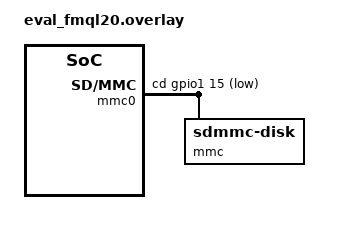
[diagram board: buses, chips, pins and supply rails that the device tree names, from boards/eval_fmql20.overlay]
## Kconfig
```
#
# Copyright (c) 2023 Nordic Semiconductor ASA
# Copyright (c) 2023 Antmicro <www.antmicro.com>
#
# SPDX-License-Identifier: Apache-2.0
#

mainmenu "Filesystems Sample Application"

config FS_SAMPLE_CREATE_SOME_ENTRIES
	bool "When no files are found on mounted partition create some"
	default y
	help
	  In case when no files could be listed, because there are none,
	  "some.dir" directory and "other.txt" file will be created
	  and list will run again to show them. This is useful when
	  showing how file system works on non-SD devices like internal
	  flash or (Q)SPI connected memories, where it is not possible to
	  easily add files with use of other device.

config FS_SAMPLE_BENCHMARK
	bool "Benchmark read/write performance"
	default n

source "Kconfig.zephyr"
```

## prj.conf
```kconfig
CONFIG_DISK_ACCESS=y
CONFIG_LOG=y
CONFIG_FILE_SYSTEM=y
CONFIG_FAT_FILESYSTEM_ELM=y
CONFIG_PRINTK=y
CONFIG_MAIN_STACK_SIZE=2048

# optimizing for size has a significant impact on performance
CONFIG_DEBUG_OPTIMIZATIONS=y
CONFIG_FS_FATFS_WINDOW_ALIGNMENT=256
```

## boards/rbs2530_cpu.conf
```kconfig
CONFIG_SDHC=y
CONFIG_GPIO=y
CONFIG_DISK_DRIVER_SDMMC=y
CONFIG_COMPILER_WARNINGS_AS_ERRORS=y
```

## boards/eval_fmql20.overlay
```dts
/**
 * Copyright (c) 2024 SYSTech Co.
 * SPDX-License-Identifier: Apache-2.0
 */

#include <zephyr/dt-bindings/gpio/gpio.h>

&mmc0 {
	status = "okay";

	cd-gpios = <&gpio1 15 GPIO_ACTIVE_LOW>; // MIO47 is the SD card detect pin

	mmc {
		compatible = "zephyr,sdmmc-disk";
		status = "okay";
	};
};

&gpio1 {
	status = "okay";
};
```

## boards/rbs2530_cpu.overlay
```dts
/**
 * Copyright (c) 2024 SYSTech Co.
 * SPDX-License-Identifier: Apache-2.0
 */

#include <zephyr/dt-bindings/gpio/gpio.h>

&mmc1 {
	status = "okay";

	cd-gpios = <&gpio1 15 GPIO_ACTIVE_LOW>; // MIO47 is the SD card detect pin

	mmc {
		compatible = "zephyr,sdmmc-disk";
		status = "okay";
	};
};

&gpio1 {
	status = "okay";
};
```

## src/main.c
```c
/*
 * Copyright (c) 2019 Tavish Naruka <tavishnaruka@gmail.com>
 * Copyright (c) 2023 Nordic Semiconductor ASA
 * Copyright (c) 2023 Antmicro <www.antmicro.com>
 *
 * SPDX-License-Identifier: Apache-2.0
 */

/* Sample which uses the filesystem API and SDHC driver */

#include <zephyr/kernel.h>
#include <zephyr/device.h>
#include <zephyr/storage/disk_access.h>
#include <zephyr/logging/log.h>
#include <zephyr/fs/fs.h>

#if defined(CONFIG_FAT_FILESYSTEM_ELM)

#include <ff.h>

/*
 *  Note the fatfs library is able to mount only strings inside _VOLUME_STRS
 *  in ffconf.h
 */
#define DISK_DRIVE_NAME "SD"
#define DISK_MOUNT_PT "/"DISK_DRIVE_NAME":"

static FATFS fat_fs;
/* mounting info */
static struct fs_mount_t mp = {
	.type = FS_FATFS,
	.fs_data = &fat_fs,
};

#elif defined(CONFIG_FILE_SYSTEM_EXT2)

#include <zephyr/fs/ext2.h>

#define DISK_DRIVE_NAME "SDMMC"
#define DISK_MOUNT_PT "/ext"

static struct fs_mount_t mp = {
	.type = FS_EXT2,
	.flags = FS_MOUNT_FLAG_NO_FORMAT,
	.storage_dev = (void *)DISK_DRIVE_NAME,
	.mnt_point = "/ext",
};

#endif

#if defined(CONFIG_FAT_FILESYSTEM_ELM)
#define FS_RET_OK FR_OK
#else
#define FS_RET_OK 0
#endif

LOG_MODULE_REGISTER(main);

#define MAX_PATH 128
#define SOME_FILE_NAME "some.dat"
#define SOME_DIR_NAME "some"
#define SOME_REQUIRED_LEN MAX(sizeof(SOME_FILE_NAME), sizeof(SOME_DIR_NAME))

static int lsdir(const char *path);
#ifdef CONFIG_FS_SAMPLE_CREATE_SOME_ENTRIES
static bool create_some_entries(const char *base_path)
{
	char path[MAX_PATH];
	struct fs_file_t file;
	int base = strlen(base_path);

	fs_file_t_init(&file);

	if (base >= (sizeof(path) - SOME_REQUIRED_LEN)) {
		LOG_ERR("Not enough concatenation buffer to create file paths");
		return false;
	}

	LOG_INF("Creating some dir entries in %s", base_path);
	strncpy(path, base_path, sizeof(path));

	path[base++] = '/';
	path[base] = 0;
	strcat(&path[base], SOME_FILE_NAME);

	if (fs_open(&file, path, FS_O_CREATE) != 0) {
		LOG_ERR("Failed to create file %s", path);
		return false;
	}
	fs_close(&file);

	path[base] = 0;
	strcat(&path[base], SOME_DIR_NAME);

	if (fs_mkdir(path) != 0) {
		LOG_ERR("Failed to create dir %s", path);
		/* If code gets here, it has at least successes to create the
		 * file so allow function to return true.
		 */
	}
	return true;
}
#endif

#ifdef CONFIG_FS_SAMPLE_BENCHMARK

#define CHUNK_SIZE  (8192)
#define CHUNK_COUNT (512)
static bool benchmark(const char *path)
{
	/* Read/Write benchmark, bs=256, count=4096, read-back verify */

	struct fs_file_t file;
	static uint8_t buffer[CHUNK_SIZE];
	static uint8_t verify[CHUNK_SIZE];
	int i;
	int res;
	int count = CHUNK_COUNT;
	int size = CHUNK_SIZE;
	int64_t t_start;
	int64_t t_write = 0;
	int64_t t_read = 0;

	fs_file_t_init(&file);

	printk("Benchmarking %s, chunk size %d, chunk count %d\n", path, size, count);

	if (fs_open(&file, path, FS_O_CREATE | FS_O_RDWR) != 0) {
		LOG_ERR("Failed to open file %s", path);
		return false;
	}

	for (i = 0; i < count; i++) {
		/* Prepare buffer */
		memset(buffer, i, size);

		/* Record timestamp */
		t_start = k_uptime_get();

		/* Write buffer */
		res = fs_write(&file, buffer, size);
		if (res != size) {
			LOG_ERR("Failed to write buffer at %d", i);
			return false;
		}

		t_write += k_uptime_delta(&t_start);
	}

	/* Make sure all buffers are written */
	t_start = k_uptime_get();
	fs_sync(&file);
	t_write += k_uptime_delta(&t_start);

	printk("Write time: %lld ms\n", t_write);
	printk("Write speed: %lld KB/s\n", (int64_t)count * size / t_write);

	/* Seek to beginning of file */
	fs_seek(&file, 0, FS_SEEK_SET);

	for (i = 0; i < count; i++) {
		/* Prepare verify buffer */
		memset(verify, i, size);

		/* Record timestamp */
		t_start = k_uptime_get();

		/* Read buffer */
		res = fs_read(&file, buffer, size);
		if (res != size) {
			LOG_ERR("Failed to read buffer at %d", i);
			return false;
		}

		t_read += k_uptime_delta(&t_start);

		/* Verify buffer */
		if (memcmp(buffer, verify, size)) {
			LOG_ERR("Data mismatch at %d", i);
			LOG_HEXDUMP_ERR(buffer, size, "Written");
			LOG_HEXDUMP_ERR(verify, size, "Read");
			return false;
		}
	}

	printk("Read time: %lld ms\n", t_read);
	printk("Read speed: %lld KB/s\n", (int64_t)count * size / t_read);

	return true;
}
#endif

static const char *disk_mount_pt = DISK_MOUNT_PT;

int main(void)
{
	/* raw disk i/o */
	do {
		static const char *disk_pdrv = DISK_DRIVE_NAME;
		uint64_t memory_size_mb;
		uint32_t block_count;
		uint32_t block_size;

		if (disk_access_ioctl(disk_pdrv,
				DISK_IOCTL_CTRL_INIT, NULL) != 0) {
			LOG_ERR("Storage init ERROR!");
			break;
		}

		if (disk_access_ioctl(disk_pdrv,
				DISK_IOCTL_GET_SECTOR_COUNT, &block_count)) {
			LOG_ERR("Unable to get sector count");
			break;
		}
		LOG_INF("Block count %u", block_count);

		if (disk_access_ioctl(disk_pdrv,
				DISK_IOCTL_GET_SECTOR_SIZE, &block_size)) {
			LOG_ERR("Unable to get sector size");
			break;
		}
		printk("Sector size %u\n", block_size);

		memory_size_mb = (uint64_t)block_count * block_size;
		printk("Memory Size(MB) %u\n", (uint32_t)(memory_size_mb >> 20));

		if (disk_access_ioctl(disk_pdrv,
				DISK_IOCTL_CTRL_DEINIT, NULL) != 0) {
			LOG_ERR("Storage deinit ERROR!");
			break;
		}
	} while (0);

	mp.mnt_point = disk_mount_pt;

	int res = fs_mount(&mp);

	if (res == FS_RET_OK) {
		printk("Disk mounted.\n");
		/* Try to unmount and remount the disk */
		res = fs_unmount(&mp);
		if (res != FS_RET_OK) {
			printk("Error unmounting disk\n");
			return res;
		}
		res = fs_mount(&mp);
		if (res != FS_RET_OK) {
			printk("Error remounting disk\n");
			return res;
		}

		if (lsdir(disk_mount_pt) == 0) {
#ifdef CONFIG_FS_SAMPLE_CREATE_SOME_ENTRIES
			if (create_some_entries(disk_mount_pt)) {
				lsdir(disk_mount_pt);
			}
#endif
		}
#ifdef CONFIG_FS_SAMPLE_BENCHMARK
		benchmark(DISK_MOUNT_PT "/" SOME_FILE_NAME);
#endif
	} else {
		printk("Error mounting disk.\n");
	}

	fs_unmount(&mp);

	while (1) {
		k_sleep(K_MSEC(1000));
	}
	return 0;
}

/* List dir entry by path
 *
 * @param path Absolute path to list
 *
 * @return Negative errno code on error, number of listed entries on
 *         success.
 */
static int lsdir(const char *path)
{
	int res;
	struct fs_dir_t dirp;
	static struct fs_dirent entry;
	int count = 0;

	fs_dir_t_init(&dirp);

	/* Verify fs_opendir() */
	res = fs_opendir(&dirp, path);
	if (res) {
		printk("Error opening dir %s [%d]\n", path, res);
		return res;
	}

	printk("\nListing dir %s ...\n", path);
	for (;;) {
		/* Verify fs_readdir() */
		res = fs_readdir(&dirp, &entry);

		/* entry.name[0] == 0 means end-of-dir */
		if (res || entry.name[0] == 0) {
			break;
		}

		if (entry.type == FS_DIR_ENTRY_DIR) {
			printk("[DIR ] %s\n", entry.name);
		} else {
			printk("[FILE] %s (size = %zu)\n",
				entry.name, entry.size);
		}
		count++;
	}

	/* Verify fs_closedir() */
	fs_closedir(&dirp);
	if (res == 0) {
		res = count;
	}

	return res;
}
```
